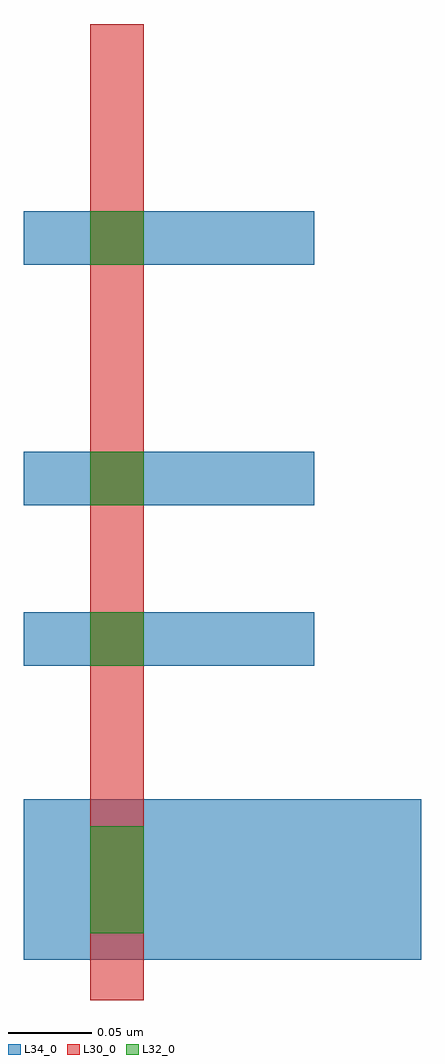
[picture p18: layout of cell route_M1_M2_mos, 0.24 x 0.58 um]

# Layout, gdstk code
import gdstk
lib = gdstk.Library(unit=1e-6, precision=5e-10)
def R(c, l, rs):  # rectangles x0, y0, x1, y1
    for r in rs: c.add(gdstk.rectangle(r[:2], r[2:], *l))
L30_0 = (30, 0)
L32_0 = (32, 0)
L34_0 = (34, 0)

via_m1_m2_0 = lib.new_cell('via_M1_M2_0')
R(via_m1_m2_0, L30_0, [(-0.016,-0.056,0.016,0.056)])
R(via_m1_m2_0, L32_0, [(-0.016,-0.016,0.016,0.016)])
R(via_m1_m2_0, L34_0, [(-0.056,-0.016,0.056,0.016)])

via_m1_m2_1 = lib.new_cell('via_M1_M2_1')
R(via_m1_m2_1, L30_0, [(-0.016,-0.072,0.016,0.072)])
R(via_m1_m2_1, L32_0, [(-0.016,-0.032,0.016,0.032)])
R(via_m1_m2_1, L34_0, [(-0.056,-0.048,0.056,0.048)])

via_m1_m2_2 = lib.new_cell('via_M1_M2_2')
R(via_m1_m2_2, L30_0, [(-0.016,-0.04,0.016,0.04)])
R(via_m1_m2_2, L32_0, [(-0.016,-0.016,0.016,0.016)])
R(via_m1_m2_2, L34_0, [(-0.056,-0.016,0.056,0.016)])

route_m1_m2_mos = lib.new_cell('route_M1_M2_mos')
R(route_m1_m2_mos, L30_0, [(-0.016,0,0.016,0.512)])
R(route_m1_m2_mos, L34_0, [(0,-0.048,0.182,0.048), (0,0.128,0.118,0.16), (0,0.224,0.118,0.256), (0,0.368,0.118,0.4)])
route_m1_m2_mos.add(gdstk.Reference(via_m1_m2_0, (0,0.24)))
route_m1_m2_mos.add(gdstk.Reference(via_m1_m2_0, (0,0.144)))
route_m1_m2_mos.add(gdstk.Reference(via_m1_m2_1, (0,0)))
route_m1_m2_mos.add(gdstk.Reference(via_m1_m2_2, (0,0.384)))

lib.write_gds('route_M1_M2_mos.gds')
